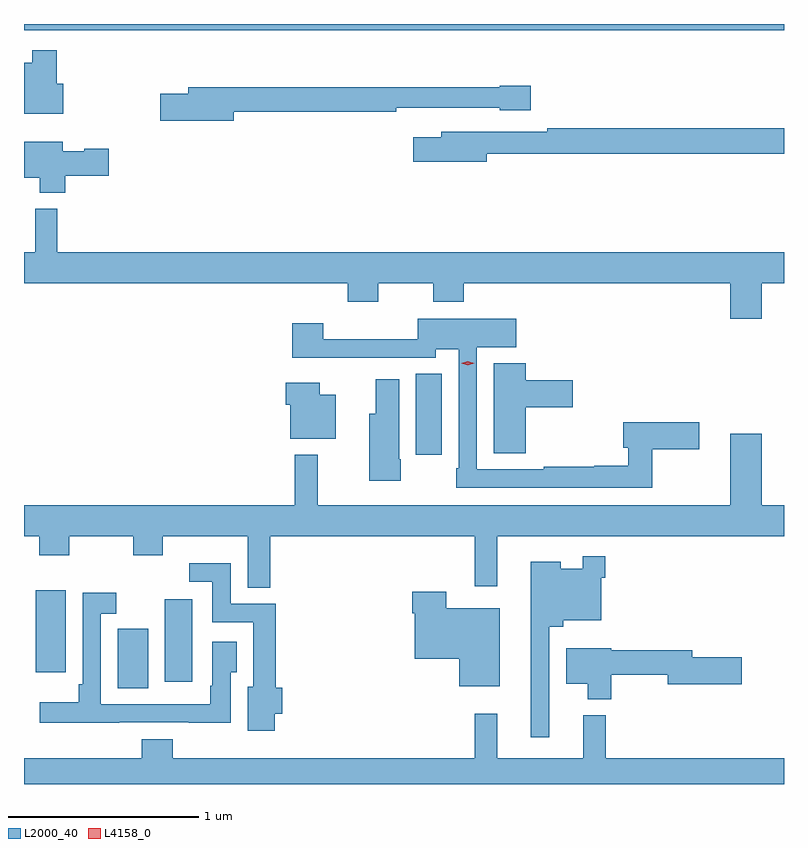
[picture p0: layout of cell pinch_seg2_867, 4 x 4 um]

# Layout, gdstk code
import gdstk
lib = gdstk.Library(unit=1e-6, precision=1e-09)
def R(c, l, rs):  # rectangles x0, y0, x1, y1
    for r in rs: c.add(gdstk.rectangle(r[:2], r[2:], *l))
def P(c, l, *ps):  # polygons
    for p in ps: c.add(gdstk.Polygon(p, *l))
L2000_40 = (2000, 40)
L4158_0 = (4158, 0)

pinch_seg2_867 = lib.new_cell('pinch_seg2_867')
R(pinch_seg2_867, L2000_40, [(497.447,593.557,497.608,593.868), (497.696,593.591,497.839,594.025), (497.015,593.64,497.173,594.073), (499.016,594.786,499.153,595.211), (496.954,597.02,500.954,597.052)])
P(pinch_seg2_867, L2000_40, [(497.161,596.737),(497.126,596.737),(497.126,596.914),(496.998,596.914),(496.998,596.848),(496.954,596.848),(496.954,596.579),(497.161,596.579)],
  [(498.058,596.59),(498.914,596.59),(498.914,596.61),(499.458,596.61),(499.458,596.597),(499.621,596.597),(499.621,596.727),(499.458,596.727),(499.458,596.719),(497.819,596.719),(497.819,596.685),(497.67,596.685),(497.67,596.543),(498.058,596.543)],
  [(499.39,596.368),(500.954,596.368),(500.954,596.504),(499.708,596.504),(499.708,596.484),(499.151,596.484),(499.151,596.455),(499.002,596.455),(499.002,596.326),(499.39,596.326)],
  [(497.171,596.254),(497.401,596.254),(497.401,596.396),(497.271,596.396),(497.271,596.383),(497.158,596.383),(497.158,596.431),(496.954,596.431),(496.954,596.243),(497.036,596.243),(497.036,596.165),(497.171,596.165)],
  [(500.836,595.688),(500.954,595.688),(500.954,595.852),(497.129,595.852),(497.129,596.08),(497.012,596.08),(497.012,595.852),(496.954,595.852),(496.954,595.688),(498.659,595.688),(498.659,595.589),(498.819,595.589),(498.819,595.688),(499.108,595.688),(499.108,595.589),(499.268,595.589),(499.268,595.688),(500.672,595.688),(500.672,595.5),(500.836,595.5)],
  [(500.26,594.814),(500.509,594.814),(500.509,594.956),(500.108,594.956),(500.108,594.821),(500.135,594.821),(500.135,594.728),(499.954,594.728),(499.954,594.721),(499.69,594.721),(499.69,594.708),(499.338,594.708),(499.338,595.352),(499.546,595.352),(499.546,595.501),(499.026,595.501),(499.026,595.394),(498.53,595.394),(498.53,595.477),(498.365,595.477),(498.365,595.295),(498.613,595.295),(498.613,595.296),(499.122,595.296),(499.122,595.34),(499.242,595.34),(499.242,594.715),(499.23,594.715),(499.23,594.612),(500.26,594.612)],
  [(499.594,595.036),(499.843,595.036),(499.843,595.178),(499.594,595.178),(499.594,595.267),(499.427,595.267),(499.427,594.793),(499.594,594.793)],
  [(498.936,594.76),(498.928,594.76),(498.928,595.183),(498.806,595.183),(498.806,595),(498.77,595),(498.77,594.648),(498.936,594.648)],
  [(498.595,595.102),(498.51,595.102),(498.51,595.165),(498.332,595.165),(498.332,595.047),(498.356,595.047),(498.356,594.869),(498.595,594.869)],
  [(498.25,594.356),(499.327,594.356),(499.327,594.093),(499.444,594.093),(499.444,594.356),(500.954,594.356),(500.954,594.52),(500.836,594.52),(500.836,594.895),(500.672,594.895),(500.672,594.52),(498.5,594.52),(498.5,594.784),(498.379,594.784),(498.379,594.52),(496.954,594.52),(496.954,594.356),(497.033,594.356),(497.033,594.257),(497.193,594.257),(497.193,594.356),(497.53,594.356),(497.53,594.257),(497.685,594.257),(497.685,594.356),(498.131,594.356),(498.131,594.085),(498.25,594.085)],
  [(499.719,593.879),(499.793,593.879),(499.793,593.915),(499.992,593.915),(499.992,594.137),(500.012,594.137),(500.012,594.25),(499.896,594.25),(499.896,594.184),(499.78,594.184),(499.78,594.223),(499.622,594.223),(499.622,593.298),(499.719,593.298)],
  [(498.275,593.423),(498.314,593.423),(498.314,593.558),(498.28,593.558),(498.28,594),(498.042,594),(498.042,594.214),(497.823,594.214),(497.823,594.117),(497.946,594.117),(497.946,593.904),(498.161,593.904),(498.161,593.563),(498.131,593.563),(498.131,593.331),(498.275,593.331)],
  [(499.459,593.977),(499.176,593.977),(499.176,594.064),(498.998,594.064),(498.998,593.951),(499.01,593.951),(499.01,593.711),(499.244,593.711),(499.244,593.567),(499.459,593.567)],
  [(497.455,593.376),(497.821,593.376),(497.821,593.375),(498.042,593.375),(498.042,593.641),(498.073,593.641),(498.073,593.8),(497.946,593.8),(497.946,593.569),(497.934,593.569),(497.934,593.472),(497.358,593.472),(497.358,593.949),(497.44,593.949),(497.44,594.058),(497.262,594.058),(497.262,593.578),(497.242,593.578),(497.242,593.482),(497.037,593.482),(497.037,593.375),(497.455,593.375)],
  [(500.044,593.628),(500.342,593.628),(500.342,593.578),(500.731,593.578),(500.731,593.72),(500.47,593.72),(500.47,593.756),(500.044,593.756),(500.044,593.767),(499.808,593.767),(499.808,593.579),(499.922,593.579),(499.922,593.498),(500.044,593.498)],
  [(500.954,593.188),(500.015,593.188),(500.015,593.413),(499.898,593.413),(499.898,593.188),(499.445,593.188),(499.445,593.422),(499.327,593.422),(499.327,593.188),(497.738,593.188),(497.738,593.287),(497.573,593.287),(497.573,593.188),(496.954,593.188),(496.954,593.052),(500.954,593.052)])
P(pinch_seg2_867, L4158_0, [(499.289,595.256),(499.255,595.266),(499.254,595.266),(499.255,595.266),(499.289,595.276),(499.324,595.266),(499.324,595.266),(499.324,595.266)])

lib.write_gds('pinch_seg2_867.gds')
